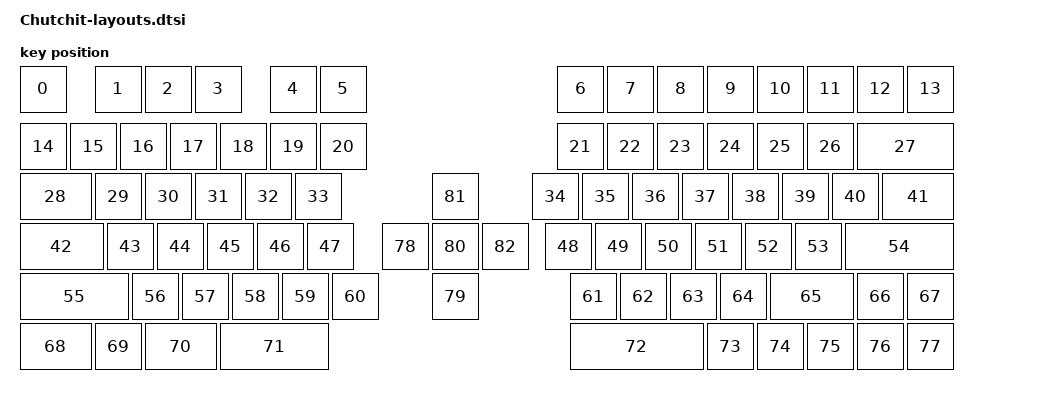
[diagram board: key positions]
#include <physical_layouts.dtsi>

/ {
    physical_layout: physical_layout_0 {
        compatible = "zmk,physical-layout";
        display-name = "Chutchit";

        // kscan = <&kscan0>;
        // transform = <&matrix_transform0>;

        studio-config {
        compatible = "zmk,studio-config";
        };

        keys  //                     w   h    x    y     rot    rx    ry
            = <&key_physical_attrs 100 100    0    0       0     0     0>
            , <&key_physical_attrs 100 100  150    0       0     0     0>
            , <&key_physical_attrs 100 100  250    0       0     0     0>
            , <&key_physical_attrs 100 100  350    0       0     0     0>
            , <&key_physical_attrs 100 100  500    0       0     0     0>
            , <&key_physical_attrs 100 100  600    0       0     0     0>
            , <&key_physical_attrs 100 100 1075    0       0     0     0>
            , <&key_physical_attrs 100 100 1175    0       0     0     0>
            , <&key_physical_attrs 100 100 1275    0       0     0     0>
            , <&key_physical_attrs 100 100 1375    0       0     0     0>
            , <&key_physical_attrs 100 100 1475    0       0     0     0>
            , <&key_physical_attrs 100 100 1575    0       0     0     0>
            , <&key_physical_attrs 100 100 1675    0       0     0     0>
            , <&key_physical_attrs 100 100 1775    0       0     0     0>
            , <&key_physical_attrs 100 100    0  115       0     0     0>
            , <&key_physical_attrs 100 100  100  115       0     0     0>
            , <&key_physical_attrs 100 100  200  115       0     0     0>
            , <&key_physical_attrs 100 100  300  115       0     0     0>
            , <&key_physical_attrs 100 100  400  115       0     0     0>
            , <&key_physical_attrs 100 100  500  115       0     0     0>
            , <&key_physical_attrs 100 100  600  115       0     0     0>
            , <&key_physical_attrs 100 100 1075  115       0     0     0>
            , <&key_physical_attrs 100 100 1175  115       0     0     0>
            , <&key_physical_attrs 100 100 1275  115       0     0     0>
            , <&key_physical_attrs 100 100 1375  115       0     0     0>
            , <&key_physical_attrs 100 100 1475  115       0     0     0>
            , <&key_physical_attrs 100 100 1575  115       0     0     0>
            , <&key_physical_attrs 200 100 1675  115       0     0     0>
            , <&key_physical_attrs 150 100    0  215       0     0     0>
            , <&key_physical_attrs 100 100  150  215       0     0     0>
            , <&key_physical_attrs 100 100  250  215       0     0     0>
            , <&key_physical_attrs 100 100  350  215       0     0     0>
            , <&key_physical_attrs 100 100  450  215       0     0     0>
            , <&key_physical_attrs 100 100  550  215       0     0     0>
            , <&key_physical_attrs 100 100 1025  215       0     0     0>
            , <&key_physical_attrs 100 100 1125  215       0     0     0>
            , <&key_physical_attrs 100 100 1225  215       0     0     0>
            , <&key_physical_attrs 100 100 1325  215       0     0     0>
            , <&key_physical_attrs 100 100 1425  215       0     0     0>
            , <&key_physical_attrs 100 100 1525  215       0     0     0>
            , <&key_physical_attrs 100 100 1625  215       0     0     0>
            , <&key_physical_attrs 150 100 1725  215       0     0     0>
            , <&key_physical_attrs 175 100    0  315       0     0     0>
            , <&key_physical_attrs 100 100  175  315       0     0     0>
            , <&key_physical_attrs 100 100  275  315       0     0     0>
            , <&key_physical_attrs 100 100  375  315       0     0     0>
            , <&key_physical_attrs 100 100  475  315       0     0     0>
            , <&key_physical_attrs 100 100  575  315       0     0     0>
            , <&key_physical_attrs 100 100 1050  315       0     0     0>
            , <&key_physical_attrs 100 100 1150  315       0     0     0>
            , <&key_physical_attrs 100 100 1250  315       0     0     0>
            , <&key_physical_attrs 100 100 1350  315       0     0     0>
            , <&key_physical_attrs 100 100 1450  315       0     0     0>
            , <&key_physical_attrs 100 100 1550  315       0     0     0>
            , <&key_physical_attrs 225 100 1650  315       0     0     0>
            , <&key_physical_attrs 225 100    0  415       0     0     0>
            , <&key_physical_attrs 100 100  225  415       0     0     0>
            , <&key_physical_attrs 100 100  325  415       0     0     0>
            , <&key_physical_attrs 100 100  425  415       0     0     0>
            , <&key_physical_attrs 100 100  525  415       0     0     0>
            , <&key_physical_attrs 100 100  625  415       0     0     0>
            , <&key_physical_attrs 100 100 1100  415       0     0     0>
            , <&key_physical_attrs 100 100 1200  415       0     0     0>
            , <&key_physical_attrs 100 100 1300  415       0     0     0>
            , <&key_physical_attrs 100 100 1400  415       0     0     0>
            , <&key_physical_attrs 175 100 1500  415       0     0     0>
            , <&key_physical_attrs 100 100 1675  415       0     0     0>
            , <&key_physical_attrs 100 100 1775  415       0     0     0>
            , <&key_physical_attrs 150 100    0  515       0     0     0>
            , <&key_physical_attrs 100 100  150  515       0     0     0>
            , <&key_physical_attrs 150 100  250  515       0     0     0>
            , <&key_physical_attrs 225 100  400  515       0     0     0>
            , <&key_physical_attrs 275 100 1100  515       0     0     0>
            , <&key_physical_attrs 100 100 1375  515       0     0     0>
            , <&key_physical_attrs 100 100 1475  515       0     0     0>
            , <&key_physical_attrs 100 100 1575  515       0     0     0>
            , <&key_physical_attrs 100 100 1675  515       0     0     0>
            , <&key_physical_attrs 100 100 1775  515       0     0     0>
            , <&key_physical_attrs 100 100  725  315       0     0     0>
            , <&key_physical_attrs 100 100  825  415       0     0     0>
            , <&key_physical_attrs 100 100  825  315       0     0     0>
            , <&key_physical_attrs 100 100  825  215       0     0     0>
            , <&key_physical_attrs 100 100  925  315       0     0     0>
            ;
        };
};
